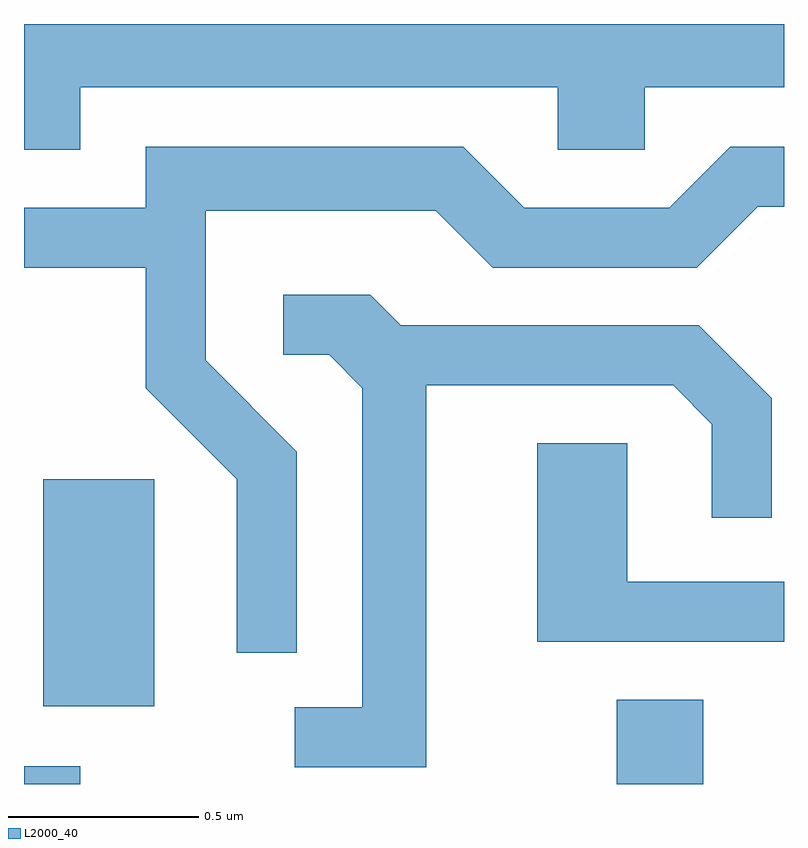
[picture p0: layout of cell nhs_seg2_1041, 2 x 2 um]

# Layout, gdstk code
import gdstk
lib = gdstk.Library(unit=1e-6, precision=1e-09)
def R(c, l, rs):  # rectangles x0, y0, x1, y1
    for r in rs: c.add(gdstk.rectangle(r[:2], r[2:], *l))
def P(c, l, *ps):  # polygons
    for p in ps: c.add(gdstk.Polygon(p, *l))
L2000_40 = (2000, 40)

nhs_seg2_1041 = lib.new_cell('nhs_seg2_1041')
R(nhs_seg2_1041, L2000_40, [(192.611,1059.802,192.759,1059.849), (194.171,1059.802,194.399,1060.024), (192.661,1060.006,192.954,1060.604)])
P(nhs_seg2_1041, L2000_40, [(192.759,1061.636),(194.016,1061.636),(194.016,1061.471),(194.244,1061.471),(194.244,1061.636),(194.611,1061.636),(194.611,1061.802),(192.611,1061.802),(192.611,1061.471),(192.759,1061.471)],
  [(193.329,1060.677),(193.089,1060.917),(193.089,1061.311),(193.694,1061.311),(193.844,1061.161),(194.382,1061.161),(194.542,1061.321),(194.611,1061.321),(194.611,1061.479),(194.469,1061.479),(194.309,1061.319),(193.927,1061.319),(193.767,1061.479),(192.931,1061.479),(192.931,1061.319),(192.611,1061.319),(192.611,1061.161),(192.931,1061.161),(192.931,1060.844),(193.171,1060.604),(193.171,1060.148),(193.329,1060.148)],
  [(193.669,1060.851),(194.319,1060.851),(194.421,1060.749),(194.421,1060.503),(194.579,1060.503),(194.579,1060.817),(194.387,1061.009),(193.602,1061.009),(193.522,1061.089),(193.293,1061.089),(193.293,1060.931),(193.414,1060.931),(193.501,1060.844),(193.501,1060.004),(193.323,1060.004),(193.323,1059.846),(193.669,1059.846)],
  [(194.611,1060.334),(194.199,1060.334),(194.199,1060.699),(193.961,1060.699),(193.961,1060.176),(194.611,1060.176)])

lib.write_gds('nhs_seg2_1041.gds')
